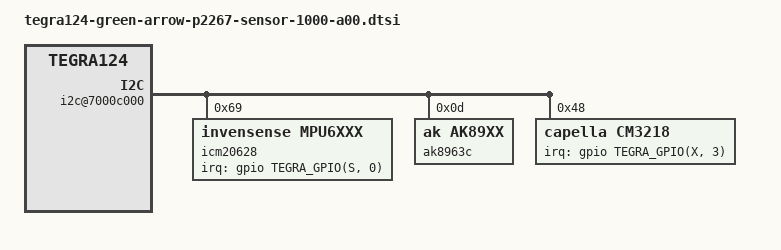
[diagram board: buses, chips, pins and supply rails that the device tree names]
/*
 * Copyright (c) 2015, NVIDIA CORPORATION.  All rights reserved.
 *
 * This program is free software; you can redistribute it and/or modify
 * it under the terms of the GNU General Public License as published by
 * the Free Software Foundation; either version 2 of the License, or
 * (at your option) any later version.
 *
 * This program is distributed in the hope that it will be useful, but WITHOUT
 * ANY WARRANTY; without even the implied warranty of MERCHANTABILITY or
 * FITNESS FOR A PARTICULAR PURPOSE.  See the GNU General Public License for
 * more details.
 *
 * You should have received a copy of the GNU General Public License along
 * with this program; if not, write to the Free Software Foundation, Inc.,
 * 51 Franklin Street, Fifth Floor, Boston, MA  02110-1301, USA.
 */

#include <dt-bindings/gpio/tegra-gpio.h>
/ {
	i2c@7000c000 {
		icm20628@69 {
			compatible = "invensense,mpu6xxx";
			reg = <0x69>;
			interrupt-parent = <&gpio>;
			interrupts = <TEGRA_GPIO(S, 0) 0x01>;
			invensense,orientation = [ff 00 00 00 ff 00 00 00 01];
			accelerometer_matrix = [ff 00 00 00 ff 00 00 00 01];
			gyroscope_matrix = [ff 00 00 00 ff 00 00 00 01];
		};

		ak8963c@0d {
			compatible = "ak,ak89xx";
			reg = <0x0d>;
			orientation = [ff 00 00 00 ff 00 00 00 01];
			magnetic_field_matrix = [ff 00 00 00 ff 00 00 00 01];
		};

		cm3218@48 {
			compatible = "capella,cm3218";
			reg = <0x48>;
			interrupt-parent = <&gpio>;
			interrupts = <TEGRA_GPIO(X, 3) 0x01>;
		};
	};

};
